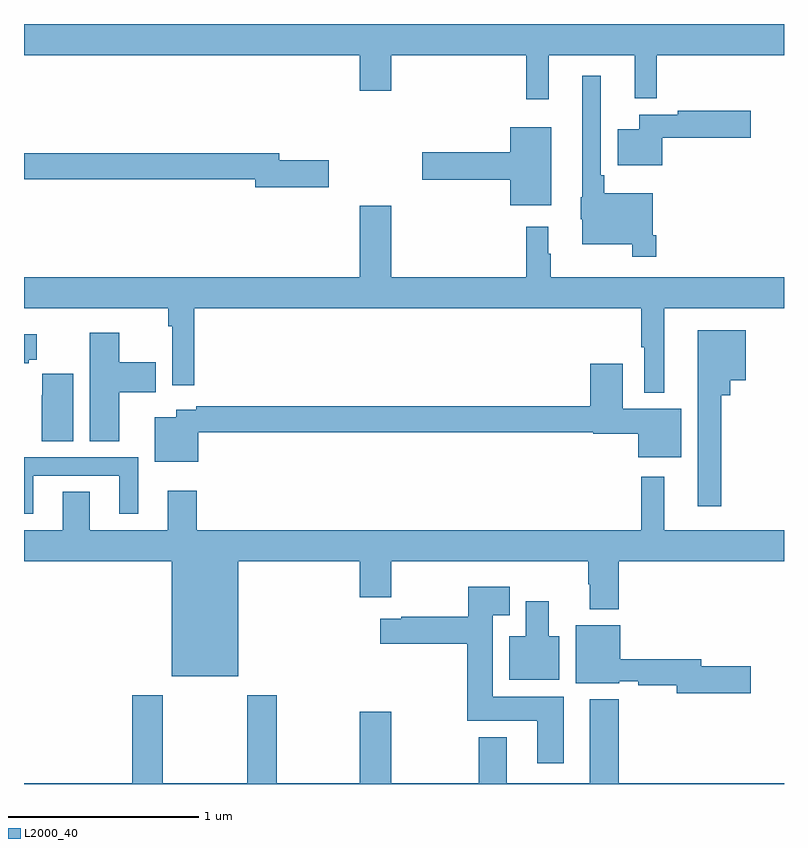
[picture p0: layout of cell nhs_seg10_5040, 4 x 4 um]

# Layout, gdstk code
import gdstk
lib = gdstk.Library(unit=1e-6, precision=1e-09)
def P(c, l, *ps):  # polygons
    for p in ps: c.add(gdstk.Polygon(p, *l))
L2000_40 = (2000, 40)

nhs_seg10_5040 = lib.new_cell('nhs_seg10_5040')
P(nhs_seg10_5040, L2000_40, [(405.761,1280.336),(406.214,1280.336),(406.214,1280.108),(406.331,1280.108),(406.331,1280.336),(407,1280.336),(407,1280.5),(403,1280.5),(403,1280.336),(404.768,1280.336),(404.768,1280.148),(404.932,1280.148),(404.932,1280.336),(405.643,1280.336),(405.643,1280.103),(405.761,1280.103)],
  [(406.328,1279.387),(406.308,1279.387),(406.308,1279.609),(406.055,1279.609),(406.055,1279.705),(406.035,1279.705),(406.035,1280.227),(405.938,1280.227),(405.938,1279.587),(405.929,1279.587),(405.929,1279.473),(405.938,1279.473),(405.938,1279.34),(406.2,1279.34),(406.2,1279.275),(406.328,1279.275)],
  [(406.36,1279.901),(406.825,1279.901),(406.825,1280.043),(406.44,1280.043),(406.44,1280.023),(406.238,1280.023),(406.238,1279.945),(406.124,1279.945),(406.124,1279.757),(406.36,1279.757)],
  [(405.775,1279.957),(405.56,1279.957),(405.56,1279.826),(405.096,1279.826),(405.096,1279.679),(405.56,1279.679),(405.56,1279.547),(405.775,1279.547)],
  [(404.605,1279.784),(404.344,1279.784),(404.344,1279.82),(403,1279.82),(403,1279.684),(404.216,1279.684),(404.216,1279.642),(404.605,1279.642)],
  [(406.369,1279.004),(407,1279.004),(407,1279.168),(405.772,1279.168),(405.772,1279.292),(405.76,1279.292),(405.76,1279.432),(405.643,1279.432),(405.643,1279.168),(404.932,1279.168),(404.932,1279.543),(404.768,1279.543),(404.768,1279.168),(403,1279.168),(403,1279.004),(403.759,1279.004),(403.759,1278.908),(403.779,1278.908),(403.779,1278.6),(403.895,1278.6),(403.895,1279.004),(406.248,1279.004),(406.248,1278.799),(406.265,1278.799),(406.265,1278.56),(406.369,1278.56)],
  [(406.669,1278.545),(406.718,1278.545),(406.718,1278.626),(406.798,1278.626),(406.798,1278.889),(406.547,1278.889),(406.547,1277.961),(406.669,1277.961)],
  [(403.501,1278.563),(403.694,1278.563),(403.694,1278.721),(403.501,1278.721),(403.501,1278.874),(403.346,1278.874),(403.346,1278.304),(403.501,1278.304)],
  [(403.024,1278.733),(403.067,1278.733),(403.067,1278.868),(403,1278.868),(403,1278.714),(403.024,1278.714)],
  [(403.918,1278.352),(405.996,1278.352),(405.996,1278.344),(406.232,1278.344),(406.232,1278.221),(406.459,1278.221),(406.459,1278.475),(406.15,1278.475),(406.15,1278.712),(405.98,1278.712),(405.98,1278.488),(403.906,1278.488),(403.906,1278.469),(403.802,1278.469),(403.802,1278.43),(403.688,1278.43),(403.688,1278.197),(403.918,1278.197)],
  [(403.258,1278.658),(403.096,1278.658),(403.096,1278.545),(403.094,1278.545),(403.094,1278.304),(403.258,1278.304)],
  [(403.048,1278.123),(403.502,1278.123),(403.502,1277.922),(403.6,1277.922),(403.6,1278.219),(403,1278.219),(403,1277.922),(403.048,1277.922)],
  [(404.128,1277.672),(404.768,1277.672),(404.768,1277.484),(404.932,1277.484),(404.932,1277.672),(405.97,1277.672),(405.97,1277.552),(405.977,1277.552),(405.977,1277.42),(406.13,1277.42),(406.13,1277.672),(407,1277.672),(407,1277.836),(406.369,1277.836),(406.369,1278.118),(406.248,1278.118),(406.248,1277.836),(403.91,1277.836),(403.91,1278.043),(403.757,1278.043),(403.757,1277.836),(403.345,1277.836),(403.345,1278.038),(403.205,1278.038),(403.205,1277.836),(403,1277.836),(403,1277.672),(403.778,1277.672),(403.778,1277.066),(404.128,1277.066)],
  [(405.841,1276.96),(405.466,1276.96),(405.466,1277.387),(405.556,1277.387),(405.556,1277.539),(405.337,1277.539),(405.337,1277.379),(404.986,1277.379),(404.986,1277.371),(404.874,1277.371),(404.874,1277.237),(405.332,1277.237),(405.332,1276.832),(405.701,1276.832),(405.701,1276.608),(405.841,1276.608)],
  [(405.817,1277.278),(405.763,1277.278),(405.763,1277.461),(405.641,1277.461),(405.641,1277.278),(405.554,1277.278),(405.554,1277.048),(405.817,1277.048)],
  [(406.825,1277.12),(406.564,1277.12),(406.564,1277.156),(406.138,1277.156),(406.138,1277.335),(405.905,1277.335),(405.905,1277.03),(406.134,1277.03),(406.134,1277.04),(406.234,1277.04),(406.234,1277.02),(406.436,1277.02),(406.436,1276.978),(406.825,1276.978)],
  [(407,1276.504),(406.13,1276.504),(406.13,1276.945),(405.977,1276.945),(405.977,1276.504),(405.541,1276.504),(405.541,1276.747),(405.394,1276.747),(405.394,1276.504),(404.932,1276.504),(404.932,1276.879),(404.768,1276.879),(404.768,1276.504),(404.331,1276.504),(404.331,1276.966),(404.176,1276.966),(404.176,1276.504),(403.731,1276.504),(403.731,1276.966),(403.571,1276.966),(403.571,1276.504),(403,1276.504),(403,1276.5),(407,1276.5)])

lib.write_gds('nhs_seg10_5040.gds')
